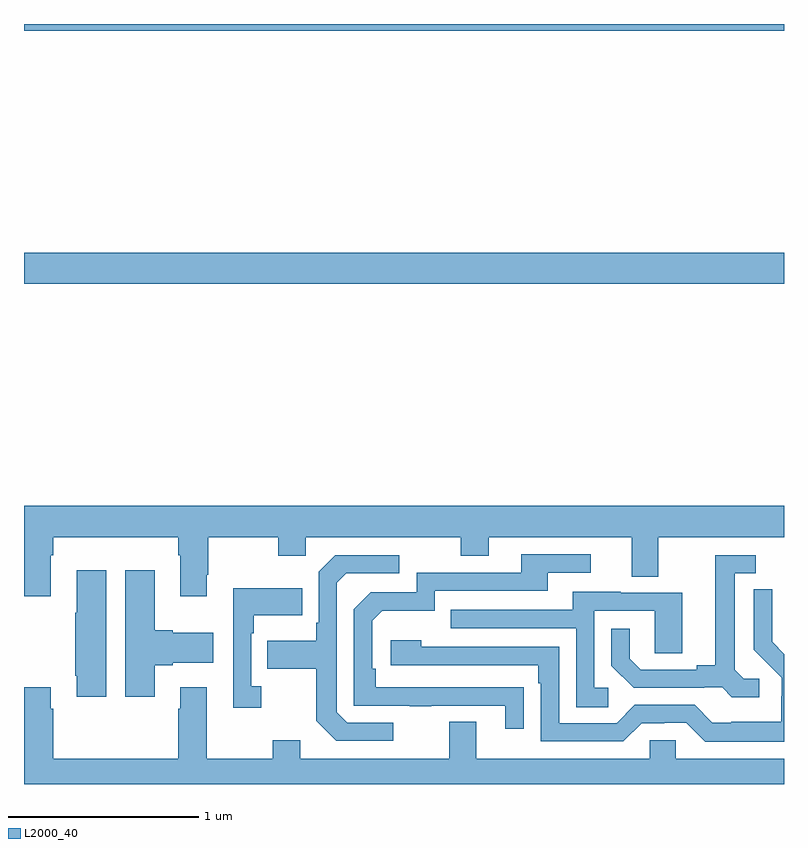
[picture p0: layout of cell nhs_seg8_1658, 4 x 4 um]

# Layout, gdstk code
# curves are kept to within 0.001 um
import gdstk
lib = gdstk.Library(unit=1e-6, precision=1e-09)
def R(c, l, rs):  # rectangles x0, y0, x1, y1
    for r in rs: c.add(gdstk.rectangle(r[:2], r[2:], *l))
def P(c, l, *ps):  # polygons
    for p in ps: c.add(gdstk.Polygon(p, *l))
L2000_40 = (2000, 40)

nhs_seg8_1658 = lib.new_cell('nhs_seg8_1658')
R(nhs_seg8_1658, L2000_40, [(217,1084.532,221,1084.696), (217,1085.864,221,1085.9)])
P(nhs_seg8_1658, L2000_40, [(217.141,1083.104),(217.154,1083.104),(217.154,1083.2),(217.811,1083.2),(217.811,1083.104),(217.823,1083.104),(217.823,1082.889),(217.963,1082.889),(217.963,1083.001),(217.971,1083.001),(217.971,1083.2),(218.338,1083.2),(218.338,1083.101),(218.484,1083.101),(218.484,1083.2),(219.298,1083.2),(219.298,1083.101),(219.445,1083.101),(219.445,1083.2),(220.199,1083.2),(220.199,1082.992),(220.339,1082.992),(220.339,1083.2),(221,1083.2),(221,1083.364),(217,1083.364),(217,1083.001),(217.001,1083.001),(217.001,1082.889),(217.141,1082.889)],
  [(219.629,1082.408),(218.852,1082.409),(218.852,1082.506),(218.832,1082.506),(218.832,1082.76),(218.885,1082.813),(219.162,1082.813),(219.162,1082.916),(219.757,1082.916),(219.757,1083.012),(219.982,1083.012),(219.982,1083.108),(219.617,1083.108),(219.617,1083.012),(219.066,1083.012),(219.066,1082.91),(218.826,1082.91),(218.736,1082.82),(218.736,1082.313),(219.031,1082.313),(219.031,1082.308),(219.143,1082.308),(219.143,1082.313),(219.533,1082.313),(219.533,1082.19),(219.629,1082.19)],
  [(218.944,1082.223),(218.7,1082.223),(218.646,1082.277),(218.646,1082.958),(218.697,1083.009),(218.974,1083.009),(218.974,1083.105),(218.637,1083.105),(218.55,1083.018),(218.55,1082.749),(218.538,1082.749),(218.538,1082.653),(218.281,1082.653),(218.281,1082.506),(218.538,1082.506),(218.538,1082.233),(218.643,1082.127),(218.944,1082.127)],
  [(220.87,1082.454),(220.788,1082.454),(220.741,1082.501),(220.741,1083.009),(220.852,1083.009),(220.852,1083.105),(220.637,1083.105),(220.637,1082.525),(220.541,1082.525),(220.541,1082.502),(220.246,1082.502),(220.189,1082.559),(220.189,1082.716),(220.092,1082.716),(220.092,1082.522),(220.208,1082.406),(220.58,1082.406),(220.58,1082.409),(220.674,1082.409),(220.726,1082.357),(220.87,1082.357)],
  [(217.432,1083.025),(217.277,1083.025),(217.277,1082.801),(217.27,1082.801),(217.27,1082.47),(217.277,1082.47),(217.277,1082.358),(217.432,1082.358)],
  [(217.687,1082.525),(217.783,1082.525),(217.783,1082.537),(217.996,1082.537),(217.996,1082.695),(217.783,1082.695),(217.783,1082.708),(217.687,1082.708),(217.687,1083.025),(217.532,1083.025),(217.532,1082.358),(217.687,1082.358)],
  [(218.248,1082.414),(218.196,1082.414),(218.196,1082.693),(218.209,1082.693),(218.209,1082.789),(218.465,1082.789),(218.465,1082.929),(218.1,1082.929),(218.1,1082.301),(218.248,1082.301)],
  [(221,1082.584),(220.937,1082.648),(220.938,1082.924),(220.842,1082.924),(220.842,1082.606),(220.988,1082.458),(220.988,1082.361),(220.986,1082.361),(220.986,1082.227),(220.723,1082.227),(220.723,1082.223),(220.623,1082.223),(220.53,1082.316),(220.215,1082.316),(220.119,1082.22),(219.816,1082.22),(219.816,1082.622),(219.092,1082.622),(219.092,1082.656),(218.931,1082.656),(218.931,1082.526),(219.707,1082.526),(219.707,1082.429),(219.72,1082.429),(219.72,1082.124),(220.155,1082.124),(220.251,1082.22),(220.37,1082.22),(220.37,1082.223),(220.485,1082.223),(220.585,1082.123),(221,1082.123)],
  [(220.075,1082.406),(220.002,1082.406),(220.002,1082.811),(220.32,1082.811),(220.32,1082.587),(220.465,1082.587),(220.465,1082.907),(220.141,1082.907),(220.141,1082.911),(219.887,1082.911),(219.887,1082.817),(219.247,1082.817),(219.247,1082.721),(219.906,1082.721),(219.906,1082.305),(220.075,1082.305)],
  [(221,1082.032),(220.431,1082.032),(220.431,1082.13),(220.293,1082.13),(220.293,1082.032),(219.379,1082.032),(219.379,1082.227),(219.239,1082.227),(219.239,1082.032),(218.455,1082.032),(218.455,1082.131),(218.308,1082.131),(218.308,1082.032),(217.963,1082.032),(217.963,1082.41),(217.823,1082.41),(217.823,1082.297),(217.811,1082.297),(217.811,1082.032),(217.154,1082.032),(217.154,1082.297),(217.141,1082.297),(217.141,1082.41),(217.001,1082.41),(217.001,1082.032),(217,1082.032),(217,1081.9),(221,1081.9)])

lib.write_gds('nhs_seg8_1658.gds')
